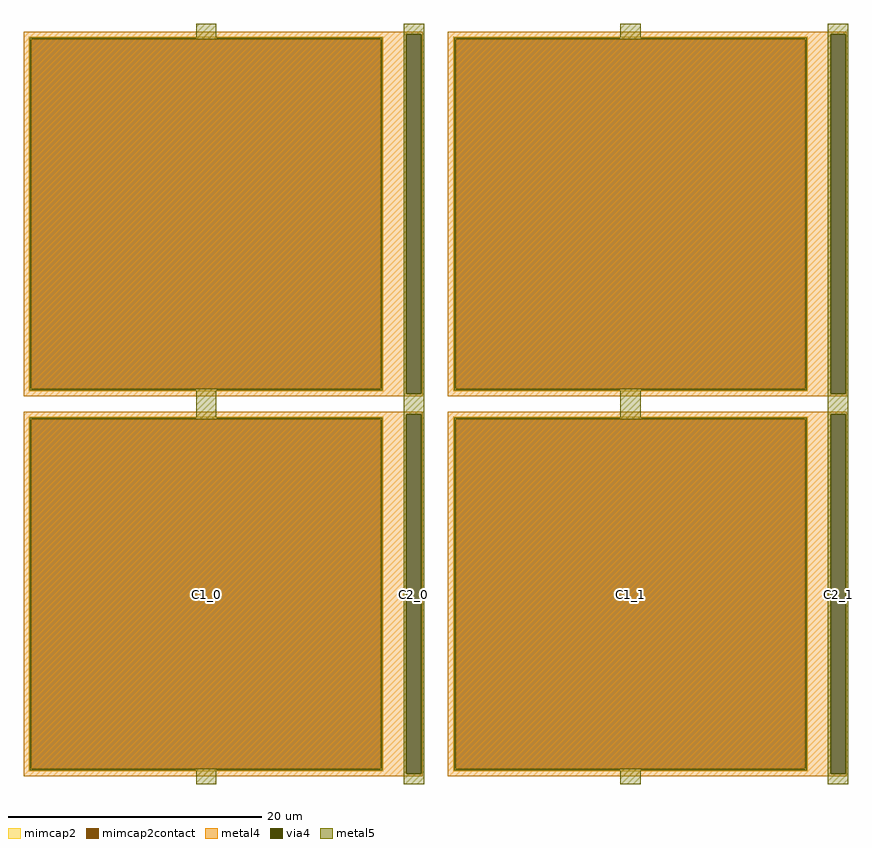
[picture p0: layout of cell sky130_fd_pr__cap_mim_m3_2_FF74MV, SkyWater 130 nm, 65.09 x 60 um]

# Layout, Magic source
magic
tech sky130A
magscale 1 2
<< metal4 >>
rect -6498 5839 -200 5880
rect -6498 161 -456 5839
rect -220 161 -200 5839
rect -6498 120 -200 161
rect 200 5839 6498 5880
rect 200 161 6242 5839
rect 6478 161 6498 5839
rect 200 120 6498 161
rect -6498 -161 -200 -120
rect -6498 -5839 -456 -161
rect -220 -5839 -200 -161
rect -6498 -5880 -200 -5839
rect 200 -161 6498 -120
rect 200 -5839 6242 -161
rect 6478 -5839 6498 -161
rect 200 -5880 6498 -5839
<< via4 >>
rect -456 161 -220 5839
rect 6242 161 6478 5839
rect -456 -5839 -220 -161
rect 6242 -5839 6478 -161
<< mimcap2 >>
rect -6418 5760 -818 5800
rect -6418 240 -6378 5760
rect -858 240 -818 5760
rect -6418 200 -818 240
rect 280 5760 5880 5800
rect 280 240 320 5760
rect 5840 240 5880 5760
rect 280 200 5880 240
rect -6418 -240 -818 -200
rect -6418 -5760 -6378 -240
rect -858 -5760 -818 -240
rect -6418 -5800 -818 -5760
rect 280 -240 5880 -200
rect 280 -5760 320 -240
rect 5840 -5760 5880 -240
rect 280 -5800 5880 -5760
<< mimcap2contact >>
rect -6378 240 -858 5760
rect 320 240 5840 5760
rect -6378 -5760 -858 -240
rect 320 -5760 5840 -240
<< metal5 >>
rect -3778 5784 -3458 6000
rect -498 5839 -178 6000
rect -6402 5760 -834 5784
rect -6402 240 -6378 5760
rect -858 240 -834 5760
rect -6402 216 -834 240
rect -3778 -216 -3458 216
rect -498 161 -456 5839
rect -220 161 -178 5839
rect 2920 5784 3240 6000
rect 6200 5839 6520 6000
rect 296 5760 5864 5784
rect 296 240 320 5760
rect 5840 240 5864 5760
rect 296 216 5864 240
rect -498 -161 -178 161
rect -6402 -240 -834 -216
rect -6402 -5760 -6378 -240
rect -858 -5760 -834 -240
rect -6402 -5784 -834 -5760
rect -3778 -6000 -3458 -5784
rect -498 -5839 -456 -161
rect -220 -5839 -178 -161
rect 2920 -216 3240 216
rect 6200 161 6242 5839
rect 6478 161 6520 5839
rect 6200 -161 6520 161
rect 296 -240 5864 -216
rect 296 -5760 320 -240
rect 5840 -5760 5864 -240
rect 296 -5784 5864 -5760
rect -498 -6000 -178 -5839
rect 2920 -6000 3240 -5784
rect 6200 -5839 6242 -161
rect 6478 -5839 6520 -161
rect 6200 -6000 6520 -5839
<< labels >>
rlabel via4 -338 -3000 -338 -3000 0 C2_0
port 1 nsew
rlabel mimcap2contact -3618 -3000 -3618 -3000 0 C1_0
port 2 nsew
rlabel via4 6360 -3000 6360 -3000 0 C2_1
port 3 nsew
rlabel mimcap2contact 3080 -3000 3080 -3000 0 C1_1
port 4 nsew
<< properties >>
string FIXED_BBOX 200 120 5960 5880
string gencell sky130_fd_pr__cap_mim_m3_2
string library sky130
string parameters w 28 l 28 val 1.589k carea 2.00 cperi 0.19 class capacitor nx 2 ny 2 dummy 0 square 0 lmin 2.00 wmin 2.00 lmax 30.0 wmax 30.0 dc 0 bconnect 1 tconnect 1 ccov 100 doports 1
<< end >>
